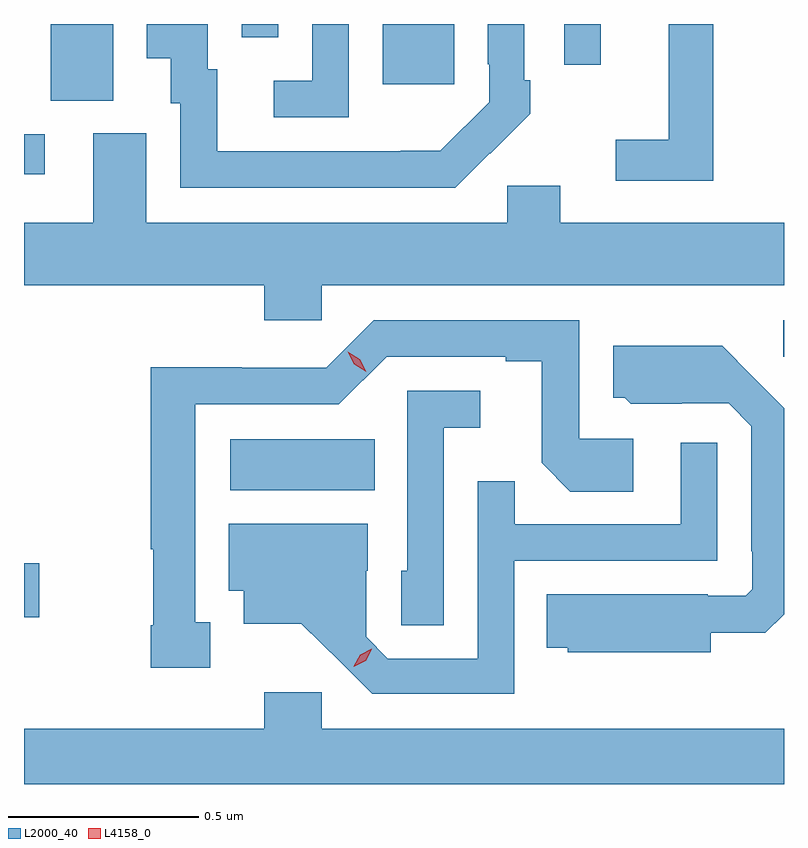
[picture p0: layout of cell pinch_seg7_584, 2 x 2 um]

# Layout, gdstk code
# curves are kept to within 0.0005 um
import gdstk
lib = gdstk.Library(unit=1e-6, precision=1e-09)
def R(c, l, rs):  # rectangles x0, y0, x1, y1
    for r in rs: c.add(gdstk.rectangle(r[:2], r[2:], *l))
def P(c, l, *ps):  # polygons
    for p in ps: c.add(gdstk.Polygon(p, *l))
L2000_40 = (2000, 40)
L4158_0 = (4158, 0)

pinch_seg7_584 = lib.new_cell('pinch_seg7_584')
R(pinch_seg7_584, L2000_40, [(129.507,1055.686,129.547,1055.828), (130.05,1056.02,130.43,1056.154), (131.505,1056.372,131.507,1056.468), (129.507,1056.852,129.562,1056.957), (129.578,1057.045,129.742,1057.247), (130.451,1057.089,130.639,1057.247), (130.929,1057.14,131.025,1057.247), (130.08,1057.212,130.176,1057.247)])
P(pinch_seg7_584, L2000_40, [(130.733,1056.907),(130.734,1056.906),(130.839,1057.011),(130.839,1057.099),(130.824,1057.099),(130.824,1057.247),(130.728,1057.247),(130.728,1057.141),(130.731,1057.141),(130.731,1057.041),(130.603,1056.913),(130.499,1056.913),(130.499,1056.912),(130.015,1056.912),(130.015,1057.128),(129.991,1057.128),(129.991,1057.247),(129.83,1057.247),(129.83,1057.157),(129.893,1057.157),(129.893,1057.038),(129.918,1057.038),(129.918,1056.816),(130.642,1056.816)],
  [(131.321,1057.247),(131.204,1057.247),(131.204,1056.943),(131.064,1056.943),(131.064,1056.834),(131.321,1056.834)],
  [(130.362,1057.247),(130.266,1057.247),(130.266,1057.098),(130.164,1057.098),(130.164,1057.002),(130.362,1057.002)],
  [(130.29,1056.56),(131.507,1056.56),(131.507,1056.724),(130.918,1056.724),(130.918,1056.822),(130.779,1056.822),(130.779,1056.724),(129.829,1056.724),(129.829,1056.96),(129.689,1056.96),(129.689,1056.724),(129.507,1056.724),(129.507,1056.56),(130.139,1056.56),(130.139,1056.467),(130.29,1056.467)],
  [(129.997,1055.673),(129.958,1055.673),(129.958,1056.246),(130.335,1056.246),(130.461,1056.372),(130.775,1056.372),(130.775,1056.36),(130.869,1056.36),(130.869,1056.092),(130.945,1056.016),(131.11,1056.016),(131.11,1056.156),(130.968,1056.156),(130.968,1056.468),(130.428,1056.468),(130.302,1056.342),(130.08,1056.342),(130.08,1056.344),(129.84,1056.344),(129.84,1055.865),(129.847,1055.865),(129.847,1055.665),(129.84,1055.665),(129.84,1055.553),(129.997,1055.553)],
  [(131.314,1055.645),(131.458,1055.645),(131.507,1055.694),(131.507,1056.236),(131.345,1056.4),(131.057,1056.4),(131.057,1056.264),(131.088,1056.264),(131.104,1056.248),(131.238,1056.248),(131.238,1056.249),(131.361,1056.249),(131.421,1056.189),(131.421,1055.86),(131.424,1055.86),(131.424,1055.76),(131.406,1055.742),(131.306,1055.742),(131.306,1055.746),(130.882,1055.746),(130.882,1055.606),(130.938,1055.606),(130.938,1055.594),(131.314,1055.594)],
  [(130.611,1056.185),(130.708,1056.185),(130.708,1056.282),(130.515,1056.282),(130.515,1055.808),(130.5,1055.808),(130.5,1055.665),(130.611,1055.665)],
  [(130.797,1055.835),(131.331,1055.835),(131.331,1056.145),(131.235,1056.145),(131.235,1055.931),(130.799,1055.931),(130.799,1056.044),(130.701,1056.044),(130.701,1055.577),(130.464,1055.577),(130.407,1055.634),(130.407,1055.808),(130.411,1055.808),(130.411,1055.932),(130.046,1055.932),(130.046,1055.756),(130.085,1055.756),(130.085,1055.669),(130.237,1055.669),(130.424,1055.484),(130.797,1055.484)],
  [(131.507,1055.392),(130.29,1055.392),(130.29,1055.488),(130.139,1055.488),(130.139,1055.392),(129.507,1055.392),(129.507,1055.247),(131.507,1055.247)])
P(pinch_seg7_584, L4158_0, [(130.375,1055.556),(130.375,1055.557),(130.392,1055.587),(130.422,1055.603),(130.422,1055.603),(130.422,1055.602),(130.406,1055.572),(130.375,1055.556)],
  [(130.407,1056.332),(130.376,1056.351),(130.359,1056.384),(130.359,1056.384),(130.359,1056.384),(130.39,1056.365),(130.408,1056.332),(130.408,1056.332)])

lib.write_gds('pinch_seg7_584.gds')
